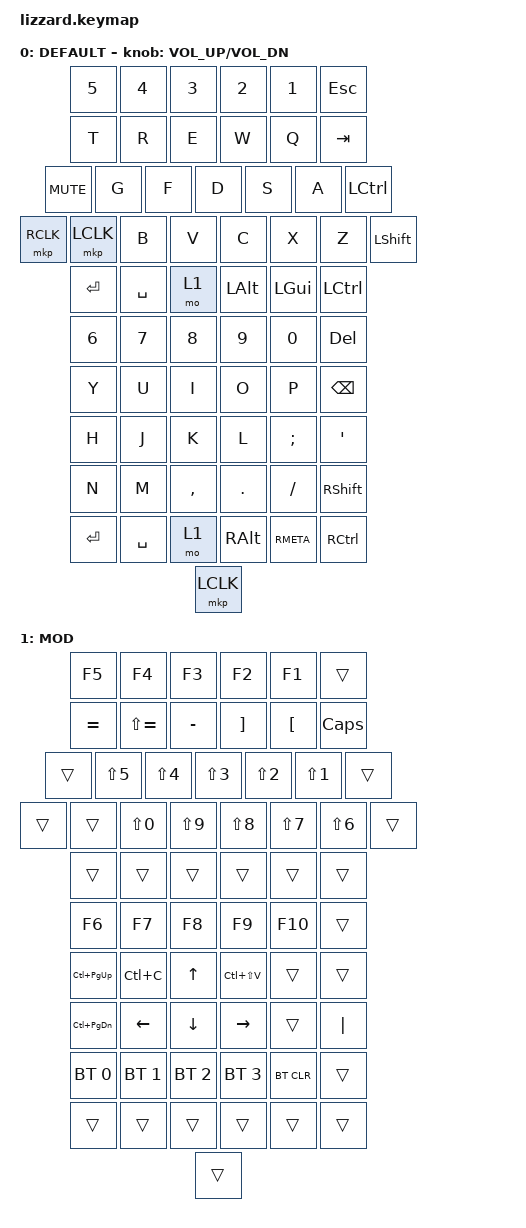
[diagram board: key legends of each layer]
#include <behaviors.dtsi>
#include <dt-bindings/zmk/bt.h>
#include <dt-bindings/zmk/keys.h>
#include <dt-bindings/zmk/pointing.h>

/ {
    keymap {
        compatible = "zmk,keymap";

        default_layer {
            display-name = "DEFAULT";
            bindings = <
                       &kp N5  &kp NUMBER_4  &kp NUMBER_3  &kp NUMBER_2  &kp NUMBER_1  &kp ESC
                       &kp T   &kp R         &kp E         &kp W         &kp Q         &kp TAB
&kp C_MUTE             &kp G   &kp F         &kp D         &kp S         &kp A         &kp LCTRL
&mkp RCLK   &mkp LCLK  &kp B   &kp V         &kp C         &kp X         &kp Z         &kp LSHIFT
&kp ENTER   &kp SPACE  &mo 1   &kp LEFT_ALT  &kp LEFT_GUI  &kp LCTRL
                                                                                                                         &kp NUMBER_6  &kp N7    &kp N8     &kp N9      &kp N0     &kp DELETE
                                                                                                                         &kp Y         &kp U     &kp I      &kp O       &kp P      &kp BACKSPACE
                                                                                                                         &kp H         &kp J     &kp K      &kp L       &kp SEMI   &kp APOS
                                                                                                                         &kp N         &kp M     &kp COMMA  &kp PERIOD  &kp SLASH  &kp RSHFT
                                                                                                   &kp RET    &kp SPACE  &mo 1         &kp RALT  &kp RMETA  &kp RCTRL
                                                                                                   &mkp LCLK
            >;

            sensor-bindings = <&inc_dec_kp C_VOL_UP C_VOL_DN>;
        };

        MOD {
            bindings = <
                &kp F5      &kp F4            &kp F3            &kp F2            &kp F1            &trans
                &kp EQUAL   &kp LS(EQUAL)     &kp MINUS         &kp RBKT          &kp LBKT          &kp CAPS
&trans          &kp LS(N5)  &kp LS(NUMBER_4)  &kp LS(NUMBER_3)  &kp LS(NUMBER_2)  &kp LS(NUMBER_1)  &trans
&trans  &trans  &kp LS(N0)  &kp LS(N9)        &kp LS(N8)        &kp LS(N7)        &kp LS(NUMBER_6)  &trans
&trans  &trans  &trans      &trans            &trans            &trans
                                                                                                                              &kp F6             &kp F7          &kp F8          &kp F9         &kp F10     &trans
                                                                                                                              &kp LC(PAGE_UP)    &kp LC(C)       &kp UP_ARROW    &kp LC(LS(V))  &trans      &trans
                                                                                                                              &kp LC(PAGE_DOWN)  &kp LEFT_ARROW  &kp DOWN_ARROW  &kp RIGHT      &trans      &kp PIPE
                                                                                                                              &bt BT_SEL 0       &bt BT_SEL 1    &bt BT_SEL 2    &bt BT_SEL 3   &bt BT_CLR  &trans
                                                                                                              &trans  &trans  &trans             &trans          &trans          &trans
                                                                                                              &trans
            >;
        };
    };
};
